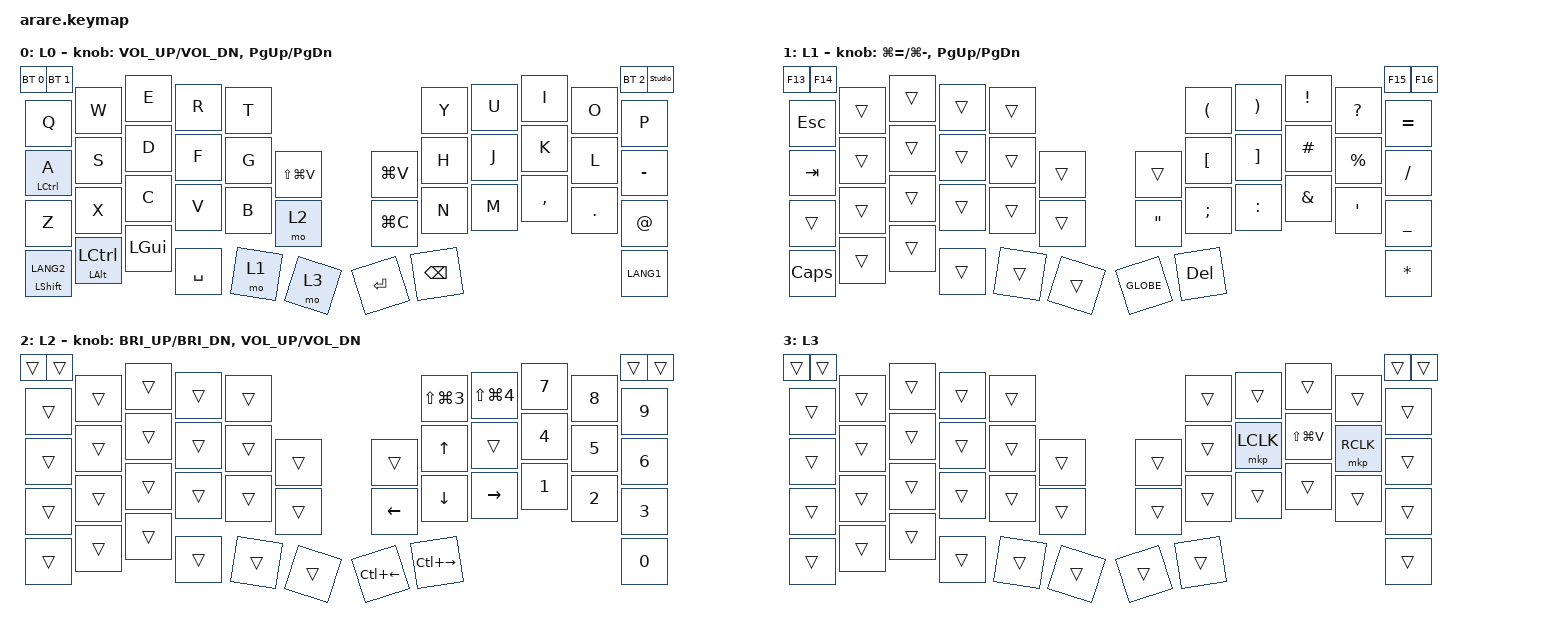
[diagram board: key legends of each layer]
/*
 * arare keymap — arare Studio で生成（2026-09-24）
 * 配列: USホスト向け
 *
 * ポジション順は arare.dtsi のコメント参照（47キー×4レイヤー）。
 */

#include <behaviors.dtsi>
#include <dt-bindings/zmk/keys.h>
#include <dt-bindings/zmk/bt.h>
#include <dt-bindings/zmk/outputs.h>
#include <dt-bindings/zmk/pointing.h>

/ {
    keymap {
        compatible = "zmk,keymap";

        layer_0 {
            display-name = "L0";
            bindings = <
&kp Q  &kp W  &kp E  &kp R  &kp T  &kp Y  &kp U  &kp I  &kp O  &kp P
&mt LCTRL A  &kp S  &kp D  &kp F  &kp G  &kp LS(LG(V))  &kp LG(V)  &kp H  &kp J  &kp K  &kp L  &kp MINUS
&kp Z  &kp X  &kp C  &kp V  &kp B  &mo 2  &kp LG(C)  &kp N  &kp M  &kp COMMA  &kp DOT  &kp AT
&mt LSHFT LANG2  &mt LALT LCTRL  &kp LGUI  &kp SPACE  &mo 1  &mo 3  &kp ENTER  &kp BSPC  &kp LANG1
&bt BT_SEL 0  &bt BT_SEL 1  &bt BT_SEL 2  &studio_unlock
            >;
            sensor-bindings = <&inc_dec_kp C_VOL_UP C_VOL_DN>, <&inc_dec_kp PG_UP PG_DN>;
        };

        layer_1 {
            display-name = "L1";
            bindings = <
&kp ESC  &trans  &trans  &trans  &trans  &kp LPAR  &kp RPAR  &kp EXCL  &kp QMARK  &kp EQUAL
&kp TAB  &trans  &trans  &trans  &trans  &trans  &trans  &kp LBKT  &kp RBKT  &kp HASH  &kp PRCNT  &kp FSLH
&trans  &trans  &trans  &trans  &trans  &trans  &kp DQT  &kp SEMI  &kp COLON  &kp AMPS  &kp SQT  &kp UNDER
&kp CAPS  &trans  &trans  &trans  &trans  &trans  &kp GLOBE  &kp DEL  &kp ASTRK
&kp F13  &kp F14  &kp F15  &kp F16
            >;
            sensor-bindings = <&inc_dec_kp LG(EQUAL) LG(MINUS)>, <&inc_dec_kp PG_UP PG_DN>;
        };

        layer_2 {
            display-name = "L2";
            bindings = <
&trans  &trans  &trans  &trans  &trans  &kp LS(LG(N3))  &kp LS(LG(N4))  &kp N7  &kp N8  &kp N9
&trans  &trans  &trans  &trans  &trans  &trans  &trans  &kp UP  &trans  &kp N4  &kp N5  &kp N6
&trans  &trans  &trans  &trans  &trans  &trans  &kp LEFT  &kp DOWN  &kp RIGHT  &kp N1  &kp N2  &kp N3
&trans  &trans  &trans  &trans  &trans  &trans  &kp LC(LEFT)  &kp LC(RIGHT)  &kp N0
&trans  &trans  &trans  &trans
            >;
            sensor-bindings = <&inc_dec_kp C_BRI_UP C_BRI_DN>, <&inc_dec_kp C_VOL_UP C_VOL_DN>;
        };

        layer_3 {
            display-name = "L3";
            bindings = <
&trans  &trans  &trans  &trans  &trans  &trans  &trans  &trans  &trans  &trans
&trans  &trans  &trans  &trans  &trans  &trans  &trans  &trans  &mkp LCLK  &kp LS(LG(V))  &mkp RCLK  &trans
&trans  &trans  &trans  &trans  &trans  &trans  &trans  &trans  &trans  &trans  &trans  &trans
&trans  &trans  &trans  &trans  &trans  &trans  &trans  &trans  &trans
&trans  &trans  &trans  &trans
            >;
        };
    };
};
